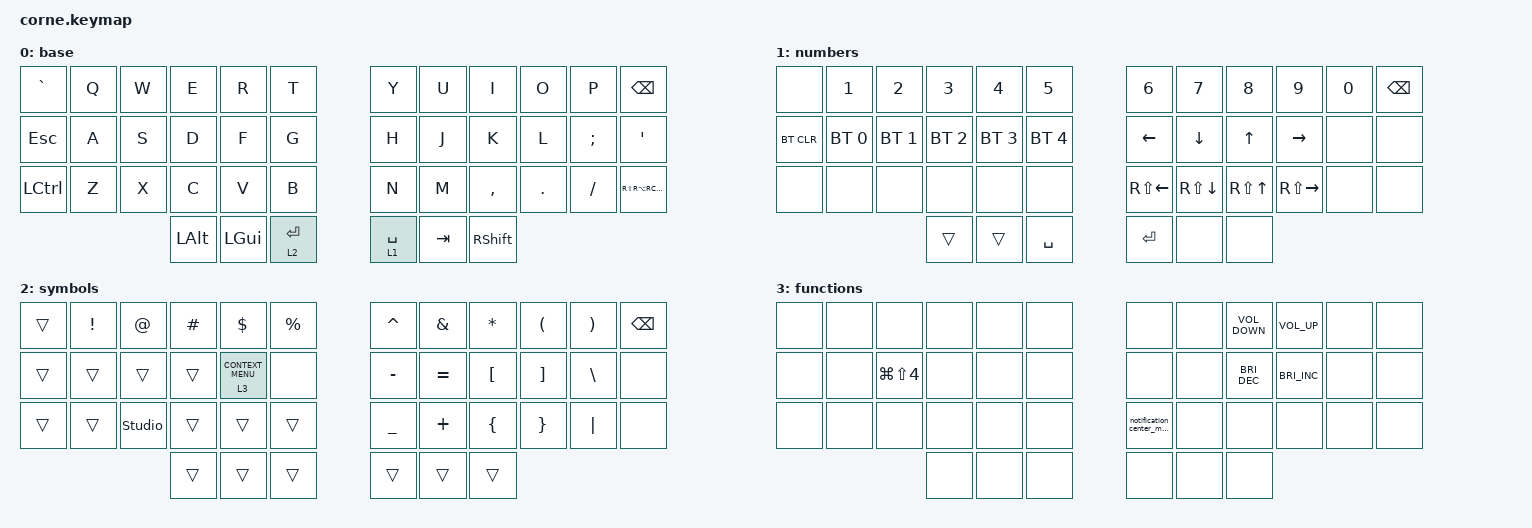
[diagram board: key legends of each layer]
/*
 * Copyright (c) 2020 The ZMK Contributors
 *
 * SPDX-License-Identifier: MIT
 */

#include <dt-bindings/gpio/gpio.h>
#include <behaviors.dtsi>
#include <dt-bindings/zmk/bt.h>
#include <dt-bindings/zmk/keys.h>

/ {
    combos {
        compatible = "zmk,combos";

        combo_capslock {
            bindings = <&kp CAPSLOCK>;
            key-positions = <1 10>;
            timeout-ms = <100>;
            layers = <0>;
        };

        combo_a_f_space {
            bindings = <&kp SPACE>;
            key-positions = <13 16>;
            slow-release;
            layers = <0>;
            timeout-ms = <70>;
            require-prior-idle-ms = <60>;
        };

        combo_a_d_shift {
            bindings = <&kp LEFT_SHIFT>;
            key-positions = <13 15>;
            slow-release;
            layers = <0>;
            timeout-ms = <70>;
            require-prior-idle-ms = <60>;
        };
    };

    macros {
        notification_center_macro: notification_center_macro {
            compatible = "zmk,behavior-macro";
            #binding-cells = <0>;
            bindings =
                <&macro_press>,
                <&kp GLOBE>,
                <&macro_tap>,
                <&kp N>,
                <&macro_release>,
                <&kp GLOBE>;

            label = "NOTIFICATION_CENTER_MACRO";
        };
    };

    keymap {
        compatible = "zmk,keymap";

        base {
            // -----------------------------------------------------------------------------------------
            // |  TAB |  Q  |  W  |  E  |  R  |  T  |   |  Y  |  U   |  I  |  O  |  P  | BSPC |
            // | CTRL |  A  |  S  |  D  |  F  |  G  |   |  H  |  J   |  K  |  L  |  ;  |  '   |
            // | SHFT |  Z  |  X  |  C  |  V  |  B  |   |  N  |  M   |  ,  |  .  |  /  | ESC  |
            //                    | GUI | LWR | SPC |   | ENT | RSE  | ALT |

            bindings = <
&kp GRAVE   &kp Q  &kp W  &kp E         &kp R         &kp T           &kp Y        &kp U    &kp I            &kp O    &kp P     &kp BSPC
&kp ESCAPE  &kp A  &kp S  &kp D         &kp F         &kp G           &kp H        &kp J    &kp K            &kp L    &kp SEMI  &kp SQT
&kp LCTRL   &kp Z  &kp X  &kp C         &kp V         &kp B           &kp N        &kp M    &kp COMMA        &kp DOT  &kp FSLH  &kp RS(RA(RC(RIGHT_GUI)))
                          &kp LEFT_ALT  &kp LEFT_GUI  &lt 2 RETURN    &lt 1 SPACE  &kp TAB  &kp RIGHT_SHIFT
            >;
        };

        numbers {
            // -----------------------------------------------------------------------------------------
            // |  TAB |  1  |  2  |  3  |  4  |  5  |   |  6  |  7  |  8  |  9  |  0  | BSPC |
            // | BTCLR| BT1 | BT2 | BT3 | BT4 | BT5 |   | LFT | DWN |  UP | RGT |     |      |
            // | SHFT |     |     |     |     |     |   |     |     |     |     |     |      |
            //                    | GUI |     | SPC |   | ENT |     | ALT |

            bindings = <
&none       &kp N1        &kp N2        &kp N3        &kp N4        &kp N5          &kp N6        &kp N7        &kp N8            &kp N9         &kp N0  &kp BSPC
&bt BT_CLR  &bt BT_SEL 0  &bt BT_SEL 1  &bt BT_SEL 2  &bt BT_SEL 3  &bt BT_SEL 4    &kp LEFT      &kp DOWN      &kp UP            &kp RIGHT      &none   &none
&none       &none         &none         &none         &none         &none           &kp RS(LEFT)  &kp RS(DOWN)  &kp RS(UP_ARROW)  &kp RS(RIGHT)  &none   &none
                                        &trans        &trans        &kp SPACE       &kp RET       &none         &none
            >;
        };

        symbols {
            // -----------------------------------------------------------------------------------------
            // |  TAB |  !  |  @  |  #  |  $  |  %  |   |  ^  |  &  |  *  |  (  |  )  | BSPC |
            // | CTRL |     |     |     |     |     |   |  -  |  =  |  [  |  ]  |  \  |  `   |
            // | SHFT |     |     |     |     |     |   |  _  |  +  |  {  |  }  | "|" |  ~   |
            //                    | GUI |     | SPC |   | ENT |     | ALT |

            bindings = <
&trans  &kp EXCL  &kp AT          &kp HASH  &kp DLLR              &kp PRCNT    &kp CARET  &kp AMPS   &kp ASTRK  &kp LPAR  &kp RPAR  &kp BSPC
&trans  &trans    &trans          &trans    &lt 3 K_CONTEXT_MENU  &none        &kp MINUS  &kp EQUAL  &kp LBKT   &kp RBKT  &kp BSLH  &none
&trans  &trans    &studio_unlock  &trans    &trans                &trans       &kp UNDER  &kp PLUS   &kp LBRC   &kp RBRC  &kp PIPE  &none
                                  &trans    &trans                &trans       &trans     &trans     &trans
            >;
        };

        functions {
            bindings = <
&none  &none  &none                 &none  &none  &none    &none                       &none  &kp K_VOLUME_DOWN     &kp K_VOLUME_UP       &none  &none
&none  &none  &kp LG(LS(NUMBER_4))  &none  &none  &none    &none                       &none  &kp C_BRIGHTNESS_DEC  &kp C_BRIGHTNESS_INC  &none  &none
&none  &none  &none                 &none  &none  &none    &notification_center_macro  &none  &none                 &none                 &none  &none
                                    &none  &none  &none    &none                       &none  &none
            >;
        };
    };
};

&nice_view_spi { cs-gpios = <&pro_micro 8 GPIO_ACTIVE_HIGH>; };
